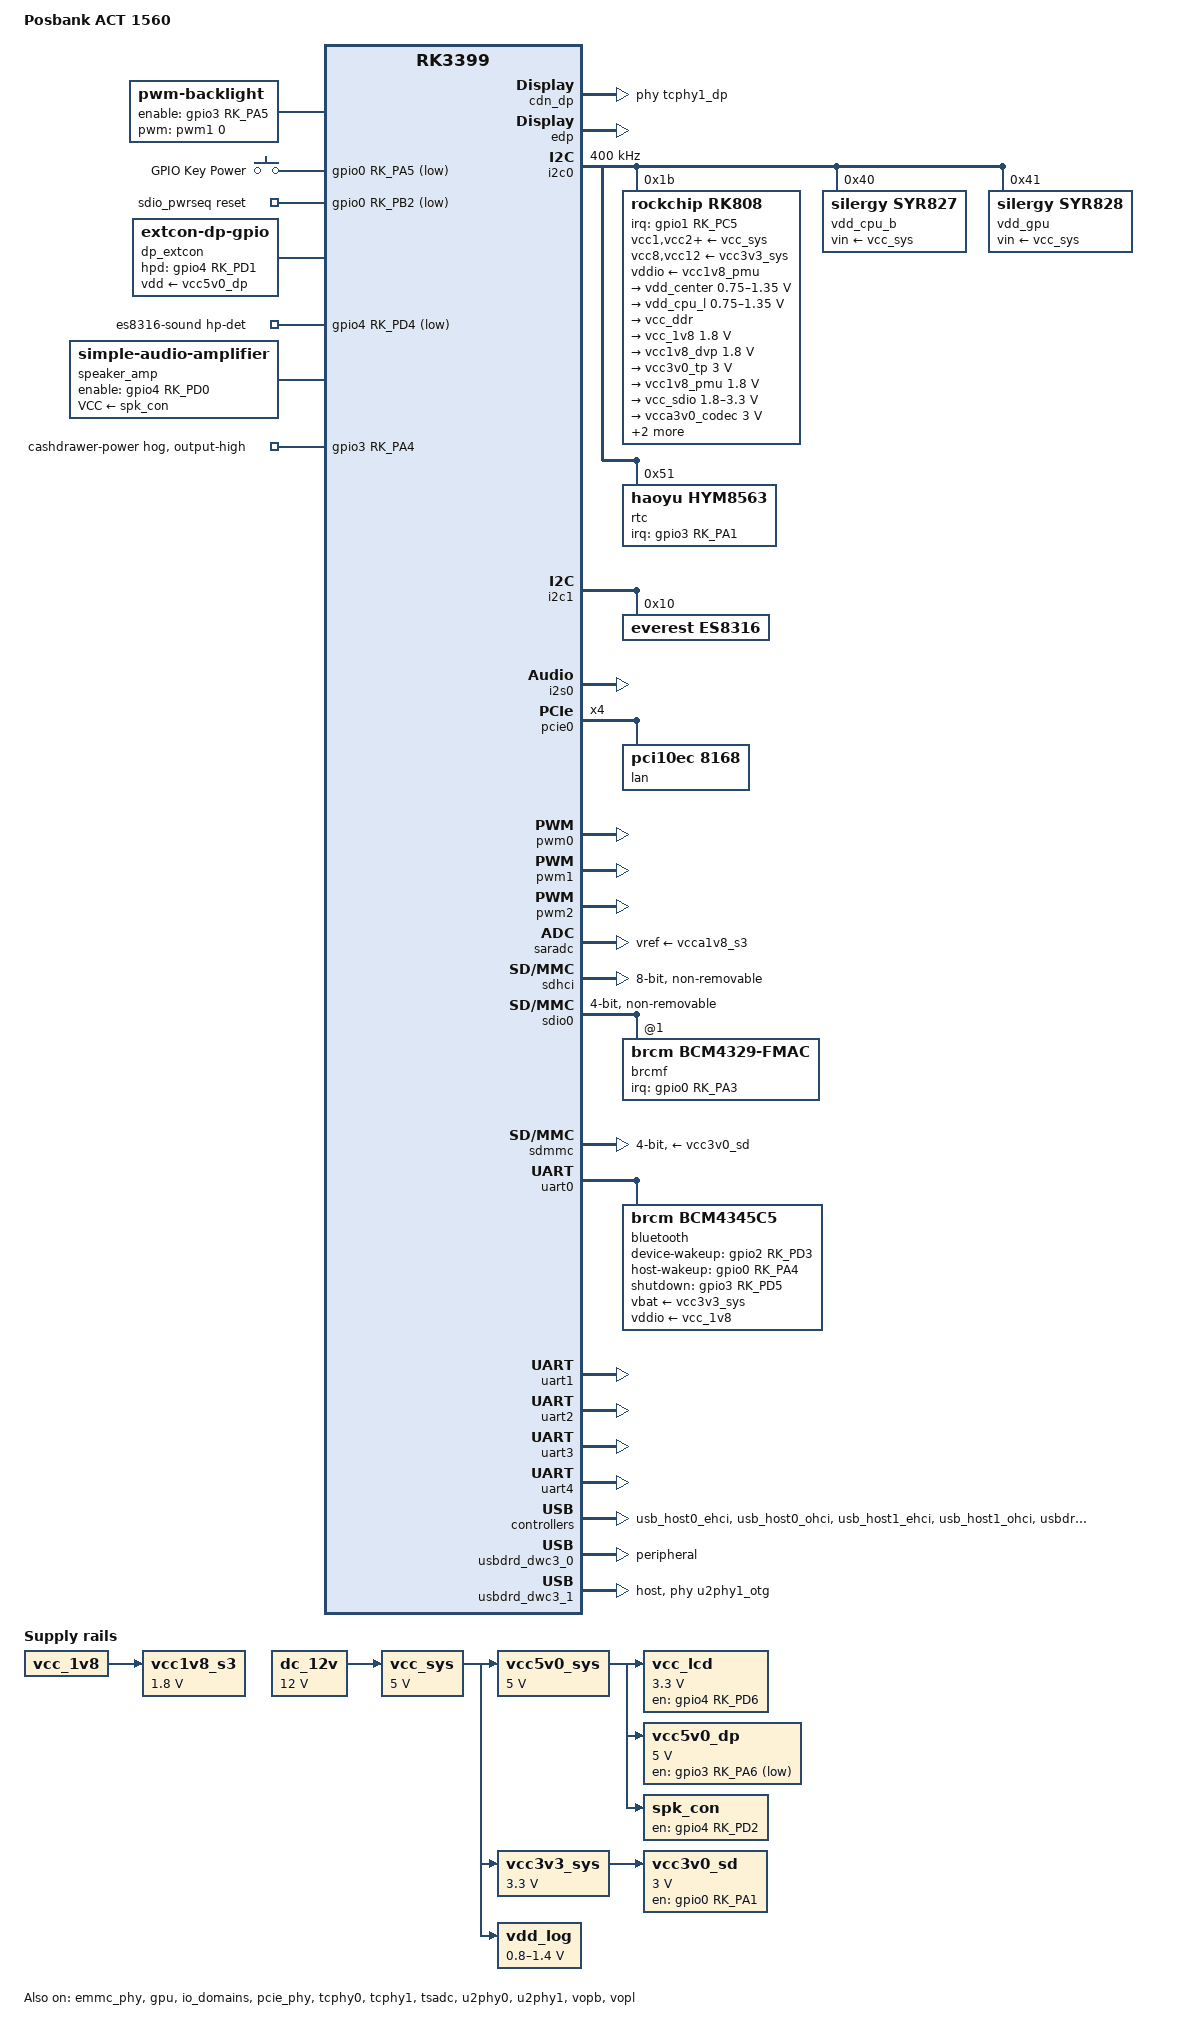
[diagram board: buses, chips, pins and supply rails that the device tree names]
// SPDX-License-Identifier: (GPL-2.0+ OR MIT)
/*
 * Posbank ACT 1560 POS terminal (RK3399, 15.6" eDP panel, 4 GB, 32 GB eMMC).
 *
 * Derived from the stock firmware device tree (Rockchip "rk3399-excavator-edp-avb"
 * reference design, power tree identical to rk3399-sapphire) and from reverse
 * engineering the stock 4.19 kernel. See the act-dump project notes for details.
 */

/dts-v1/;
#include <dt-bindings/input/linux-event-codes.h>
#include <dt-bindings/pwm/pwm.h>
#include <dt-bindings/soc/rockchip,boot-mode.h>
#include "rk3399.dtsi"

/ {
	model = "Posbank ACT 1560";
	compatible = "posbank,act1560", "rockchip,rk3399";

	aliases {
		/* the stock U-Boot writes the vendor-storage LAN MAC to ethernet0 */
		ethernet0 = &lan;
		mmc0 = &sdhci;
		mmc1 = &sdmmc;
		mmc2 = &sdio0;
	};

	/* the stock U-Boot's dtbo overlay targets &chosen and &reboot_mode */
	chosen: chosen {
		stdout-path = "serial2:1500000n8";
	};

	backlight: backlight {
		compatible = "pwm-backlight";
		brightness-levels = <0 255>;
		num-interpolated-steps = <255>;
		default-brightness-level = <180>;
		enable-gpios = <&gpio3 RK_PA5 GPIO_ACTIVE_HIGH>;
		pinctrl-names = "default";
		pinctrl-0 = <&bl_en>;
		pwms = <&pwm1 0 100000 0>;
	};

	gpio-keys {
		compatible = "gpio-keys";
		autorepeat;
		pinctrl-names = "default";
		pinctrl-0 = <&pwr_btn>;

		key-power {
			debounce-interval = <100>;
			gpios = <&gpio0 RK_PA5 GPIO_ACTIVE_LOW>;
			label = "GPIO Key Power";
			linux,code = <KEY_POWER>;
			wakeup-source;
		};
	};

	sdio_pwrseq: sdio-pwrseq {
		compatible = "mmc-pwrseq-simple";
		clocks = <&rk808 1>;
		clock-names = "ext_clock";
		pinctrl-names = "default";
		pinctrl-0 = <&wifi_enable_h>;
		reset-gpios = <&gpio0 RK_PB2 GPIO_ACTIVE_LOW>;
	};

	dc_12v: regulator-dc-12v {
		compatible = "regulator-fixed";
		regulator-name = "dc_12v";
		regulator-always-on;
		regulator-boot-on;
		regulator-min-microvolt = <12000000>;
		regulator-max-microvolt = <12000000>;
	};

	vcc_sys: regulator-vcc-sys {
		compatible = "regulator-fixed";
		regulator-name = "vcc_sys";
		regulator-always-on;
		regulator-boot-on;
		regulator-min-microvolt = <5000000>;
		regulator-max-microvolt = <5000000>;
		vin-supply = <&dc_12v>;
	};

	vcc5v0_sys: regulator-vcc5v0-sys {
		compatible = "regulator-fixed";
		regulator-name = "vcc5v0_sys";
		regulator-always-on;
		regulator-boot-on;
		regulator-min-microvolt = <5000000>;
		regulator-max-microvolt = <5000000>;
		vin-supply = <&vcc_sys>;
	};

	vcc3v3_sys: regulator-vcc3v3-sys {
		compatible = "regulator-fixed";
		regulator-name = "vcc3v3_sys";
		regulator-always-on;
		regulator-boot-on;
		regulator-min-microvolt = <3300000>;
		regulator-max-microvolt = <3300000>;
		vin-supply = <&vcc_sys>;
	};

	vcc1v8_s3: vcca1v8_s3: regulator-vcc1v8-s3 {
		compatible = "regulator-fixed";
		regulator-name = "vcc1v8_s3";
		regulator-always-on;
		regulator-boot-on;
		regulator-min-microvolt = <1800000>;
		regulator-max-microvolt = <1800000>;
		vin-supply = <&vcc_1v8>;
	};

	vcc3v0_sd: regulator-vcc3v0-sd {
		compatible = "regulator-fixed";
		enable-active-high;
		gpio = <&gpio0 RK_PA1 GPIO_ACTIVE_HIGH>;
		pinctrl-names = "default";
		pinctrl-0 = <&sdmmc0_pwr_h>;
		regulator-always-on;
		regulator-min-microvolt = <3000000>;
		regulator-max-microvolt = <3000000>;
		regulator-name = "vcc3v0_sd";
		vin-supply = <&vcc3v3_sys>;
	};

	vcc_lcd: regulator-vcc-lcd {
		compatible = "regulator-fixed";
		regulator-name = "vcc_lcd";
		enable-active-high;
		gpio = <&gpio4 RK_PD6 GPIO_ACTIVE_HIGH>;
		pinctrl-names = "default";
		pinctrl-0 = <&lcd_pwr_en>;
		startup-delay-us = <20000>;
		regulator-min-microvolt = <3300000>;
		regulator-max-microvolt = <3300000>;
		regulator-boot-on;
		vin-supply = <&vcc5v0_sys>;
	};

	/* Stock "hdmi-5v": driven physically low at boot and never changed. */
	vcc5v0_dp: regulator-vcc5v0-dp {
		compatible = "regulator-fixed";
		regulator-name = "vcc5v0_dp";
		gpio = <&gpio3 RK_PA6 GPIO_ACTIVE_HIGH>;	/* enabled = GPIO low */
		regulator-min-microvolt = <5000000>;
		regulator-max-microvolt = <5000000>;
		vin-supply = <&vcc5v0_sys>;
	};

	/*
	 * Hard-wired mini-DP output on TypeC PHY1. HPD on GPIO4_D1 is read raw by the
	 * stock driver (high = plugged) although the stock DT flags it active-low.
	 * Needs drivers/extcon/extcon-dp-gpio.c.
	 */
	dp_extcon: dp-extcon {
		compatible = "linux,extcon-dp-gpio";
		hpd-gpios = <&gpio4 RK_PD1 GPIO_ACTIVE_HIGH>;
		vdd-supply = <&vcc5v0_dp>;
		pinctrl-names = "default";
		pinctrl-0 = <&dp_hpd>;
	};

	/*
	 * ES8316 on i2s0. The codec has only headphone outputs; the speaker amplifier
	 * hangs off them like on rk3399-pinebook-pro. The stock (Posbank) es8316 driver
	 * drives spk-con-gpio (GPIO4_D0) and headset-con-gpio (GPIO4_D2) raw high at
	 * probe and both low while headphones are plugged in (es8316_headset_detect),
	 * so they are modelled as the amplifier's enable and its supply's enable.
	 * Headphone detect is the stock rk-headset's GPIO4_D4, low when plugged in.
	 */
	es8316-sound {
		compatible = "simple-audio-card";
		pinctrl-names = "default";
		pinctrl-0 = <&hp_det>;
		simple-audio-card,name = "es8316";
		simple-audio-card,format = "i2s";
		simple-audio-card,mclk-fs = <256>;

		simple-audio-card,widgets =
			"Microphone", "Mic Jack",
			"Headphone", "Headphones",
			"Speaker", "Speaker";
		simple-audio-card,routing =
			"MIC1", "Mic Jack",
			"Headphones", "HPOL",
			"Headphones", "HPOR",
			"Speaker Amplifier INL", "HPOL",
			"Speaker Amplifier INR", "HPOR",
			"Speaker", "Speaker Amplifier OUTL",
			"Speaker", "Speaker Amplifier OUTR";

		simple-audio-card,hp-det-gpios = <&gpio4 RK_PD4 GPIO_ACTIVE_LOW>;
		simple-audio-card,aux-devs = <&speaker_amp>;
		simple-audio-card,pin-switches = "Speaker";

		simple-audio-card,cpu {
			sound-dai = <&i2s0>;
		};

		simple-audio-card,codec {
			sound-dai = <&es8316>;
		};
	};

	speaker_amp: speaker-amplifier {
		compatible = "simple-audio-amplifier";
		enable-gpios = <&gpio4 RK_PD0 GPIO_ACTIVE_HIGH>;
		sound-name-prefix = "Speaker Amplifier";
		VCC-supply = <&spk_con>;
	};

	/* Stock headset-con-gpio, switched together with the amplifier. */
	spk_con: regulator-spk-con {
		compatible = "regulator-fixed";
		regulator-name = "spk_con";
		gpio = <&gpio4 RK_PD2 GPIO_ACTIVE_HIGH>;
		enable-active-high;
		vin-supply = <&vcc5v0_sys>;
	};

	vdd_log: regulator-vdd-log {
		compatible = "pwm-regulator";
		pwms = <&pwm2 0 25000 1>;
		pwm-supply = <&vcc_sys>;
		regulator-name = "vdd_log";
		regulator-always-on;
		regulator-boot-on;
		regulator-min-microvolt = <800000>;
		regulator-max-microvolt = <1400000>;
	};
};

&cpu_l0 {
	cpu-supply = <&vdd_cpu_l>;
};

&cpu_l1 {
	cpu-supply = <&vdd_cpu_l>;
};

&cpu_l2 {
	cpu-supply = <&vdd_cpu_l>;
};

&cpu_l3 {
	cpu-supply = <&vdd_cpu_l>;
};

&cpu_b0 {
	cpu-supply = <&vdd_cpu_b>;
};

&cpu_b1 {
	cpu-supply = <&vdd_cpu_b>;
};

/* External mini-DP: port 1 only, see dp_extcon. Port 0 (USB-C alt mode) needs TCPM work. */
&cdn_dp {
	phys = <&tcphy1_dp>;
	extcon = <&dp_extcon>;
	status = "okay";
};

&edp {
	force-hpd;
	status = "okay";

	aux-bus {
		panel {
			compatible = "edp-panel";
			backlight = <&backlight>;
			enable-gpios = <&gpio1 RK_PB5 GPIO_ACTIVE_HIGH>;
			/* stock prepare-delay-ms; without it the EDID read at probe fails */
			hpd-absent-delay-ms = <200>;
			no-hpd;
			pinctrl-names = "default";
			pinctrl-0 = <&lcd_panel_en>;
			power-supply = <&vcc_lcd>;

			port {
				panel_in_edp: endpoint {
					remote-endpoint = <&edp_out_panel>;
				};
			};
		};
	};
};

&edp_out {
	edp_out_panel: endpoint {
		remote-endpoint = <&panel_in_edp>;
	};
};

&emmc_phy {
	status = "okay";
};

/*
 * Cash drawer, reverse engineered from the stock "rockchip,gpio-cashdrawer" driver.
 * No kernel driver: kick/sense lines are used from userspace via the GPIO chardev.
 * The kick outputs are active-high (stock DT says active-low, its driver uses raw values).
 */
&gpio1 {
	gpio-line-names =
		/* A0-A7 */ "", "", "", "", "", "", "", "",
		/* B0-B7 */ "", "", "", "", "", "", "", "",
		/* C0-C7 */ "", "", "", "", "", "", "", "cashdrawer-kick1",
		/* D0-D7 */ "cashdrawer-kick2", "", "", "", "", "", "", "";
};

&gpio3 {
	gpio-line-names =
		/* A0-A7 */ "", "", "", "", "cashdrawer-power", "", "", "",
		/* B0-B7 */ "", "", "", "", "", "", "", "",
		/* C0-C7 */ "cashdrawer-sense1", "cashdrawer-sense2", "", "", "", "", "", "",
		/* D0-D7 */ "", "", "", "", "", "", "", "";

	cashdrawer-power-hog {
		gpio-hog;
		gpios = <RK_PA4 GPIO_ACTIVE_HIGH>;
		output-high;
		line-name = "cashdrawer-power";
	};
};

&gpu {
	mali-supply = <&vdd_gpu>;
	status = "okay";
};

&i2c0 {
	clock-frequency = <400000>;
	i2c-scl-rising-time-ns = <168>;
	i2c-scl-falling-time-ns = <4>;
	status = "okay";

	rk808: pmic@1b {
		compatible = "rockchip,rk808";
		reg = <0x1b>;
		interrupt-parent = <&gpio1>;
		interrupts = <RK_PC5 IRQ_TYPE_LEVEL_LOW>;
		#clock-cells = <1>;
		clock-output-names = "xin32k", "rk808-clkout2";
		pinctrl-names = "default";
		pinctrl-0 = <&pmic_int_l>;
		system-power-controller;
		wakeup-source;

		vcc1-supply = <&vcc_sys>;
		vcc2-supply = <&vcc_sys>;
		vcc3-supply = <&vcc_sys>;
		vcc4-supply = <&vcc_sys>;
		vcc6-supply = <&vcc_sys>;
		vcc7-supply = <&vcc_sys>;
		vcc8-supply = <&vcc3v3_sys>;
		vcc9-supply = <&vcc_sys>;
		vcc10-supply = <&vcc_sys>;
		vcc11-supply = <&vcc_sys>;
		vcc12-supply = <&vcc3v3_sys>;
		vddio-supply = <&vcc1v8_pmu>;

		regulators {
			vdd_center: DCDC_REG1 {
				regulator-name = "vdd_center";
				regulator-always-on;
				regulator-boot-on;
				regulator-min-microvolt = <750000>;
				regulator-max-microvolt = <1350000>;
				regulator-ramp-delay = <6001>;
				regulator-state-mem {
					regulator-off-in-suspend;
				};
			};

			vdd_cpu_l: DCDC_REG2 {
				regulator-name = "vdd_cpu_l";
				regulator-always-on;
				regulator-boot-on;
				regulator-min-microvolt = <750000>;
				regulator-max-microvolt = <1350000>;
				regulator-ramp-delay = <6001>;
				regulator-state-mem {
					regulator-off-in-suspend;
				};
			};

			vcc_ddr: DCDC_REG3 {
				regulator-name = "vcc_ddr";
				regulator-always-on;
				regulator-boot-on;
				regulator-state-mem {
					regulator-on-in-suspend;
				};
			};

			vcc_1v8: DCDC_REG4 {
				regulator-name = "vcc_1v8";
				regulator-always-on;
				regulator-boot-on;
				regulator-min-microvolt = <1800000>;
				regulator-max-microvolt = <1800000>;
				regulator-state-mem {
					regulator-on-in-suspend;
					regulator-suspend-microvolt = <1800000>;
				};
			};

			vcc1v8_dvp: LDO_REG1 {
				regulator-name = "vcc1v8_dvp";
				regulator-always-on;
				regulator-boot-on;
				regulator-min-microvolt = <1800000>;
				regulator-max-microvolt = <1800000>;
				regulator-state-mem {
					regulator-off-in-suspend;
				};
			};

			vcc3v0_tp: LDO_REG2 {
				regulator-name = "vcc3v0_tp";
				regulator-always-on;
				regulator-boot-on;
				regulator-min-microvolt = <3000000>;
				regulator-max-microvolt = <3000000>;
				regulator-state-mem {
					regulator-off-in-suspend;
				};
			};

			vcc1v8_pmu: LDO_REG3 {
				regulator-name = "vcc1v8_pmu";
				regulator-always-on;
				regulator-boot-on;
				regulator-min-microvolt = <1800000>;
				regulator-max-microvolt = <1800000>;
				regulator-state-mem {
					regulator-on-in-suspend;
					regulator-suspend-microvolt = <1800000>;
				};
			};

			vcc_sdio: LDO_REG4 {
				regulator-name = "vcc_sdio";
				regulator-always-on;
				regulator-boot-on;
				regulator-min-microvolt = <1800000>;
				regulator-max-microvolt = <3300000>;
				regulator-state-mem {
					regulator-on-in-suspend;
					regulator-suspend-microvolt = <3000000>;
				};
			};

			vcca3v0_codec: LDO_REG5 {
				regulator-name = "vcca3v0_codec";
				regulator-always-on;
				regulator-boot-on;
				regulator-min-microvolt = <3000000>;
				regulator-max-microvolt = <3000000>;
				regulator-state-mem {
					regulator-off-in-suspend;
				};
			};

			vcc_1v5: LDO_REG6 {
				regulator-name = "vcc_1v5";
				regulator-always-on;
				regulator-boot-on;
				regulator-min-microvolt = <1500000>;
				regulator-max-microvolt = <1500000>;
				regulator-state-mem {
					regulator-on-in-suspend;
					regulator-suspend-microvolt = <1500000>;
				};
			};

			vcca1v8_codec: LDO_REG7 {
				regulator-name = "vcca1v8_codec";
				regulator-always-on;
				regulator-boot-on;
				regulator-min-microvolt = <1800000>;
				regulator-max-microvolt = <1800000>;
				regulator-state-mem {
					regulator-off-in-suspend;
				};
			};

			vcc_3v0: LDO_REG8 {
				regulator-name = "vcc_3v0";
				regulator-always-on;
				regulator-boot-on;
				regulator-min-microvolt = <3000000>;
				regulator-max-microvolt = <3000000>;
				regulator-state-mem {
					regulator-on-in-suspend;
					regulator-suspend-microvolt = <3000000>;
				};
			};

			vcc3v3_s3: SWITCH_REG1 {
				regulator-name = "vcc3v3_s3";
				regulator-always-on;
				regulator-boot-on;
				regulator-state-mem {
					regulator-off-in-suspend;
				};
			};

			vcc3v3_s0: SWITCH_REG2 {
				regulator-name = "vcc3v3_s0";
				regulator-always-on;
				regulator-boot-on;
				regulator-state-mem {
					regulator-off-in-suspend;
				};
			};
		};
	};

	vdd_cpu_b: regulator@40 {
		compatible = "silergy,syr827";
		reg = <0x40>;
		fcs,suspend-voltage-selector = <1>;
		regulator-name = "vdd_cpu_b";
		regulator-min-microvolt = <712500>;
		regulator-max-microvolt = <1500000>;
		regulator-ramp-delay = <1000>;
		regulator-always-on;
		regulator-boot-on;
		vin-supply = <&vcc_sys>;

		regulator-state-mem {
			regulator-off-in-suspend;
		};
	};

	vdd_gpu: regulator@41 {
		compatible = "silergy,syr828";
		reg = <0x41>;
		fcs,suspend-voltage-selector = <1>;
		regulator-name = "vdd_gpu";
		regulator-min-microvolt = <712500>;
		regulator-max-microvolt = <1500000>;
		regulator-ramp-delay = <1000>;
		regulator-always-on;
		regulator-boot-on;
		vin-supply = <&vcc_sys>;

		regulator-state-mem {
			regulator-off-in-suspend;
		};
	};

	rtc@51 {
		compatible = "haoyu,hym8563";
		reg = <0x51>;
		#clock-cells = <0>;
		clock-output-names = "hym8563";
		interrupt-parent = <&gpio3>;
		interrupts = <RK_PA1 IRQ_TYPE_LEVEL_LOW>;
		pinctrl-names = "default";
		pinctrl-0 = <&rtc_int>;
	};
};

/* Stock bus timing. */
&i2c1 {
	i2c-scl-rising-time-ns = <300>;
	i2c-scl-falling-time-ns = <15>;
	status = "okay";

	es8316: audio-codec@10 {
		compatible = "everest,es8316";
		reg = <0x10>;
		clocks = <&cru SCLK_I2S_8CH_OUT>;
		clock-names = "mclk";
		pinctrl-names = "default";
		pinctrl-0 = <&i2s_8ch_mclk_pin>;
		#sound-dai-cells = <0>;
	};
};

/* Stock: two-channel bus (no SDO1-3/SDI1-3). */
&i2s0 {
	pinctrl-0 = <&i2s0_2ch_bus>;
	pinctrl-1 = <&i2s0_2ch_bus_bclk_off>;
	rockchip,playback-channels = <2>;
	rockchip,capture-channels = <2>;
	status = "okay";
};

/* TODO: PN54x NFC on i2c5, FUSB302 on i2c4 */

&io_domains {
	bt656-supply = <&vcc_3v0>;
	audio-supply = <&vcca1v8_codec>;
	sdmmc-supply = <&vcc_sdio>;
	gpio1830-supply = <&vcc_3v0>;
	status = "okay";
};

/* Stock uses vcc_1v8 here, unlike rk3399-sapphire (vcc_3v0). */
&pmu_io_domains {
	pmu1830-supply = <&vcc_1v8>;
	status = "okay";
};

/*
 * PMUGRF_OS_REG0 boot mode, read by the stock U-Boot: "reboot bootloader" enters its
 * fastboot, "reboot loader" the Rockchip loader (USB download) mode.
 */
&pmugrf {
	reboot_mode: reboot-mode {
		compatible = "syscon-reboot-mode";
		offset = <0x300>;
		mode-bootloader = <BOOT_FASTBOOT>;
		mode-loader = <BOOT_BL_DOWNLOAD>;
		mode-normal = <BOOT_NORMAL>;
		mode-recovery = <BOOT_RECOVERY>;
	};
};

/* Realtek PCIe NIC (r8169) */
&pcie_phy {
	status = "okay";
};

&pcie0 {
	ep-gpios = <&gpio2 RK_PD4 GPIO_ACTIVE_HIGH>;
	max-link-speed = <1>;
	num-lanes = <4>;
	pinctrl-names = "default";
	pinctrl-0 = <&pcie_clkreqn_cpm>;
	status = "okay";

	pcie@0,0 {
		reg = <0x000000 0 0 0 0>;
		#address-cells = <3>;
		#size-cells = <2>;
		ranges;
		device_type = "pci";
		bus-range = <0x1 0x1>;

		lan: ethernet@0,0 {
			compatible = "pci10ec,8168";
			reg = <0x010000 0 0 0 0>;
		};
	};
};

&pinctrl {
	backlight {
		bl_en: bl-en {
			rockchip,pins = <3 RK_PA5 RK_FUNC_GPIO &pcfg_pull_none>;
		};
	};

	bt {
		bt_enable_h: bt-enable-h {
			rockchip,pins = <3 RK_PD5 RK_FUNC_GPIO &pcfg_pull_none>;
		};

		bt_host_wake_l: bt-host-wake-l {
			rockchip,pins = <0 RK_PA4 RK_FUNC_GPIO &pcfg_pull_down>;
		};

		bt_wake_l: bt-wake-l {
			rockchip,pins = <2 RK_PD3 RK_FUNC_GPIO &pcfg_pull_none>;
		};
	};

	buttons {
		pwr_btn: pwr-btn {
			rockchip,pins = <0 RK_PA5 RK_FUNC_GPIO &pcfg_pull_up>;
		};
	};

	headphone {
		hp_det: hp-det {
			rockchip,pins = <4 RK_PD4 RK_FUNC_GPIO &pcfg_pull_up>;
		};
	};

	i2s0 {
		i2s_8ch_mclk_pin: i2s-8ch-mclk-pin {
			rockchip,pins = <4 RK_PA0 1 &pcfg_pull_none>;
		};
	};

	dp {
		/* TODO: confirm pull on a stock unit */
		dp_hpd: dp-hpd {
			rockchip,pins = <4 RK_PD1 RK_FUNC_GPIO &pcfg_pull_none>;
		};
	};

	lcd {
		lcd_panel_en: lcd-panel-en {
			rockchip,pins = <1 RK_PB5 RK_FUNC_GPIO &pcfg_pull_none>;
		};

		lcd_pwr_en: lcd-pwr-en {
			rockchip,pins = <4 RK_PD6 RK_FUNC_GPIO &pcfg_pull_none>;
		};
	};

	pmic {
		pmic_int_l: pmic-int-l {
			rockchip,pins = <1 RK_PC5 RK_FUNC_GPIO &pcfg_pull_up>;
		};
	};

	rtc {
		rtc_int: rtc-int {
			rockchip,pins = <3 RK_PA1 RK_FUNC_GPIO &pcfg_pull_up>;
		};
	};

	sd {
		sdmmc0_pwr_h: sdmmc0-pwr-h {
			rockchip,pins = <0 RK_PA1 RK_FUNC_GPIO &pcfg_pull_none>;
		};
	};

	wifi {
		wifi_enable_h: wifi-enable-h {
			rockchip,pins = <0 RK_PB2 RK_FUNC_GPIO &pcfg_pull_none>;
		};

		wifi_host_wake_l: wifi-host-wake-l {
			rockchip,pins = <0 RK_PA3 RK_FUNC_GPIO &pcfg_pull_none>;
		};
	};
};

&pwm0 {
	status = "okay";
};

&pwm1 {
	status = "okay";
};

&pwm2 {
	pinctrl-names = "default";
	pinctrl-0 = <&pwm2_pin_pull_down>;
	status = "okay";
};

&saradc {
	vref-supply = <&vcca1v8_s3>;
	status = "okay";
};

&sdhci {
	bus-width = <8>;
	mmc-hs400-1_8v;
	mmc-hs400-enhanced-strobe;
	non-removable;
	status = "okay";
};

/* AP6256 (BCM43456) Wi-Fi */
&sdio0 {
	#address-cells = <1>;
	#size-cells = <0>;
	bus-width = <4>;
	cap-sd-highspeed;
	cap-sdio-irq;
	clock-frequency = <50000000>;
	keep-power-in-suspend;
	mmc-pwrseq = <&sdio_pwrseq>;
	non-removable;
	pinctrl-names = "default";
	pinctrl-0 = <&sdio0_bus4 &sdio0_cmd &sdio0_clk>;
	sd-uhs-sdr104;
	status = "okay";

	brcmf: wifi@1 {
		compatible = "brcm,bcm4329-fmac";
		reg = <1>;
		interrupt-parent = <&gpio0>;
		interrupts = <RK_PA3 IRQ_TYPE_LEVEL_HIGH>;
		interrupt-names = "host-wake";
		pinctrl-names = "default";
		pinctrl-0 = <&wifi_host_wake_l>;
	};
};

&sdmmc {
	broken-cd;
	bus-width = <4>;
	cap-mmc-highspeed;
	cap-sd-highspeed;
	clock-frequency = <150000000>;
	disable-wp;
	max-frequency = <150000000>;
	pinctrl-names = "default";
	pinctrl-0 = <&sdmmc_clk &sdmmc_cmd &sdmmc_bus4>;
	vmmc-supply = <&vcc3v0_sd>;
	vqmmc-supply = <&vcc_sdio>;
	status = "okay";
};

&tcphy0 {
	status = "okay";
};

&tcphy1 {
	extcon = <&dp_extcon>;
	status = "okay";
};

&tsadc {
	/* tshut mode 0:CRU 1:GPIO */
	rockchip,hw-tshut-mode = <1>;
	/* tshut polarity 0:LOW 1:HIGH */
	rockchip,hw-tshut-polarity = <1>;
	status = "okay";
};

&u2phy0 {
	status = "okay";

	u2phy0_otg: otg-port {
		status = "okay";
	};

	u2phy0_host: host-port {
		status = "okay";
	};
};

&u2phy1 {
	status = "okay";

	u2phy1_otg: otg-port {
		status = "okay";
	};

	u2phy1_host: host-port {
		status = "okay";
	};
};

/* AP6256 Bluetooth (BCM4345C5) */
&uart0 {
	pinctrl-names = "default";
	pinctrl-0 = <&uart0_xfer &uart0_cts &uart0_rts>;
	status = "okay";

	bluetooth {
		compatible = "brcm,bcm4345c5";
		clocks = <&rk808 1>;
		clock-names = "lpo";
		device-wakeup-gpios = <&gpio2 RK_PD3 GPIO_ACTIVE_HIGH>;
		host-wakeup-gpios = <&gpio0 RK_PA4 GPIO_ACTIVE_HIGH>;
		shutdown-gpios = <&gpio3 RK_PD5 GPIO_ACTIVE_HIGH>;
		max-speed = <1500000>;
		pinctrl-names = "default";
		pinctrl-0 = <&bt_host_wake_l &bt_wake_l &bt_enable_h>;
		vbat-supply = <&vcc3v3_sys>;
		vddio-supply = <&vcc_1v8>;
	};
};

/* ttyS1: purpose unknown, pins GPIO3_B4/B5 */
&uart1 {
	status = "okay";
};

/* Debug console (DEBUG1 header), 115200 8N1 */
&uart2 {
	status = "okay";
};

/* MSR (not populated on known units). Only TX/RX: CTS/RTS pins are the drawer sense lines. */
&uart3 {
	pinctrl-names = "default";
	pinctrl-0 = <&uart3_xfer>;
	status = "okay";
};

/* Customer display (2x20 VFD) on the mini-DP connector, stock /dev/COM2 */
&uart4 {
	status = "okay";
};

&usb_host0_ehci {
	status = "okay";
};

&usb_host0_ohci {
	status = "okay";
};

&usb_host1_ehci {
	status = "okay";
};

&usb_host1_ohci {
	status = "okay";
};

&usbdrd3_0 {
	status = "okay";
};

/*
 * USB-C (FUSB302). Stock runs it as OTG switched by the FUSB302 (fastboot/adb to a host). Until
 * the TCPM connector node and role switch are in, fix it as peripheral so adb works.
 */
&usbdrd_dwc3_0 {
	dr_mode = "peripheral";
	status = "okay";
};

&usbdrd3_1 {
	status = "okay";
};

/* Shares TypeC PHY1 with the mini-DP output: USB2 only so 4-lane DP can always get the PHY. */
&usbdrd_dwc3_1 {
	dr_mode = "host";
	maximum-speed = "high-speed";
	phys = <&u2phy1_otg>;
	phy-names = "usb2-phy";
	status = "okay";
};

&vopb {
	status = "okay";
};

&vopb_mmu {
	status = "okay";
};

&vopl {
	status = "okay";
};

&vopl_mmu {
	status = "okay";
};
